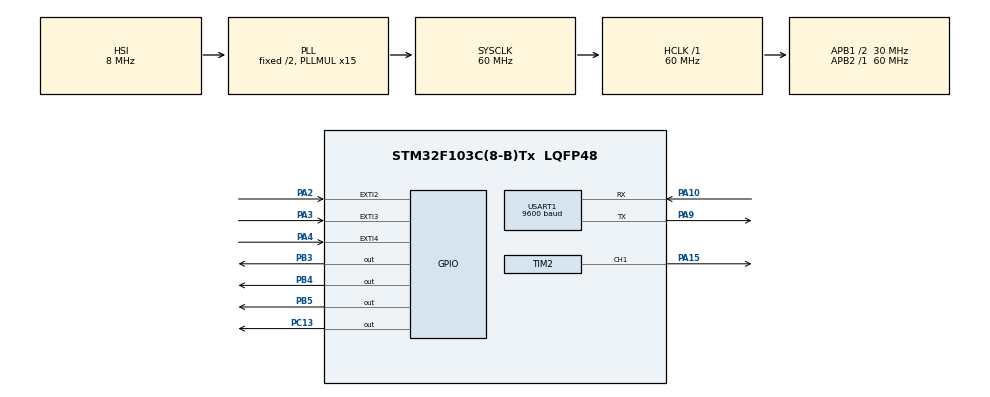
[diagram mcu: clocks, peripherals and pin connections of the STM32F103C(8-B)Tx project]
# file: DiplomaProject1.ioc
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Dma.Request0=TIM2_CH1
Dma.TIM2_CH1.0.Direction=DMA_MEMORY_TO_PERIPH
Dma.TIM2_CH1.0.Instance=DMA1_Channel5
Dma.TIM2_CH1.0.MemDataAlignment=DMA_MDATAALIGN_HALFWORD
Dma.TIM2_CH1.0.MemInc=DMA_MINC_ENABLE
Dma.TIM2_CH1.0.Mode=DMA_NORMAL
Dma.TIM2_CH1.0.PeriphDataAlignment=DMA_PDATAALIGN_HALFWORD
Dma.TIM2_CH1.0.PeriphInc=DMA_PINC_DISABLE
Dma.TIM2_CH1.0.Priority=DMA_PRIORITY_LOW
Mcu.Family=STM32F1
Mcu.Name=STM32F103C(8-B)Tx
Mcu.Package=LQFP48
NVIC.DMA1_Channel5_IRQn=true\:0\:0\:false\:false\:true\:false\:true\:true
NVIC.PriorityGroup=NVIC_PRIORITYGROUP_4
NVIC.TIM2_IRQn=true\:0\:0\:false\:false\:true\:true\:true\:true
NVIC.TIM3_IRQn=true\:0\:0\:false\:false\:true\:true\:true\:true
NVIC.TIM4_IRQn=true\:0\:0\:false\:false\:true\:true\:true\:true
NVIC.USART1_IRQn=true\:0\:0\:false\:false\:true\:true\:true\:true
PA10.Mode=Asynchronous
PA10.Signal=USART1_RX
PA13.Mode=Serial_Wire
PA13.Signal=SYS_JTMS-SWDIO
PA14.Mode=Serial_Wire
PA14.Signal=SYS_JTCK-SWCLK
PA15.Signal=S_TIM2_CH1_ETR
PA2.Signal=GPXTI2
PA3.Signal=GPXTI3
PA4.Signal=GPXTI4
PA9.Mode=Asynchronous
PA9.Signal=USART1_TX
PB3.Signal=GPIO_Output
PB4.Signal=GPIO_Output
PB5.Signal=GPIO_Output
PC13-TAMPER-RTC.Signal=GPIO_Output
ProjectManager.HeapSize=0x200
ProjectManager.StackSize=0x400
ProjectManager.TargetToolchain=STM32CubeIDE
RCC.AHBFreq_Value=60000000
RCC.APB1CLKDivider=RCC_HCLK_DIV2
RCC.APB1Freq_Value=30000000
RCC.APB1TimFreq_Value=60000000
RCC.APB2Freq_Value=60000000
RCC.APB2TimFreq_Value=60000000
RCC.HCLKFreq_Value=60000000
RCC.PLLMUL=RCC_PLL_MUL15
RCC.SYSCLKFreq_VALUE=60000000
RCC.SYSCLKSource=RCC_SYSCLKSOURCE_PLLCLK
RCC.USBFreq_Value=60000000
SH.S_TIM2_CH1_ETR.0=TIM2_CH1,PWM Generation1 CH1
TIM2.Channel-PWM\ Generation1\ CH1=TIM_CHANNEL_1
TIM2.Period=75-1
TIM2.Prescaler=0
TIM3.Period=30000-1
TIM3.Prescaler=90-1
TIM4.Period=30000-1
TIM4.Prescaler=15-1
USART1.BaudRate=9600
USART1.VirtualMode=VM_ASYNC
VP_TIM2_VS_ClockSourceINT.Mode=Internal
VP_TIM3_VS_ClockSourceINT.Mode=Internal
VP_TIM4_VS_ClockSourceINT.Mode=Internal
board=custom

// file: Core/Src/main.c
/* USER CODE BEGIN Header */
/**
  ******************************************************************************
  * @file           : main.c
  * @brief          : Main program body
  ******************************************************************************
  * @attention
  *
  * Copyright (c) 2024 STMicroelectronics.
  * All rights reserved.
  *
  * This software is licensed under terms that can be found in the LICENSE file
  * in the root directory of this software component.
  * If no LICENSE file comes with this software, it is provided AS-IS.
  *
  ******************************************************************************
  */
/* USER CODE END Header */
#include "main.h"

/* USER CODE BEGIN PM */
const uint8_t VECTOR_DEFAULT_PATTERNS_SIZES[] = {8, 8, 12, 16, 14, 14};

const uint8_t VECTOR_DEFAULT_PATTERNS[][16][2] = {
    // { {5,1}, {4,0}, {3,1}, {2,0}, {1,1}, {0,0}, {0,1}, {1,0}, {2,1}, {3,0}, {4,1}, {5,0} },
    // { {1,5}, {0,4}, {1,3}, {0,2}, {1,1}, {0,0}, {1,0}, {0,1}, {1,2}, {0,3}, {1,4}, {0,5} },
    { {0,1}, {1,0}, {2,0}, {3,1}, {3,2}, {2,3}, {1,3}, {0,2} },
	{ {0,0}, {1,0}, {2,0}, {1,1}, {0,2}, {1,2}, {2,2}, {1,1} },
    { {0,0}, {0,1}, {0,2}, {0,3}, {1,3}, {2,3}, {3,3}, {3,2}, {3,1}, {3,0}, {2,0}, {1,0} },
    { {3,1}, {4,0}, {5,0}, {6,1}, {6,2}, {5,3}, {4,3}, {3,2}, {3,1}, {2,0}, {1,0}, {0,1}, {0,2}, {1,3}, {2,3}, {3,2} },
    { {0,0}, {1,0}, {2,0}, {3,0}, {4,0}, {5,0}, {6,0}, {7,0}, {6,0}, {5,0}, {4,0}, {3,0}, {2,0}, {1,0} },
    { {0,0}, {0,1}, {0,2}, {0,3}, {0,4}, {0,5}, {0,6}, {0,7}, {0,6}, {0,5}, {0,4}, {0,3}, {0,2}, {0,1} }
};

uint8_t PATTERNS_NOARROW[PATTERN_COUNT + 1] = {false, false, false, false, false, false};
uint8_t PATTERNS_MIRROR[PATTERN_COUNT + 1] = {false, false, false, false, false, false};
uint8_t PATTERNS_MIRROR_AXIS[PATTERN_COUNT + 1] = {0, 0, 0, 0, 0, 0};

uint32_t PATTERN_VECTOR_SIZE = 0;
uint8_t PATTERN_VECTOR_RESIZED[128][2];

uint32_t seg_display_num = 0, last_matrix_update_time = 0, last_display_update_time = 0;
uint8_t matrix_regime = 2, matrix_time_regime = 1, matrix_reset_button_pressed = false, matrix_enabled = true;

const uint32_t SECURITY_CODE_CONDENSED = 470;
uint8_t exercise_datapackage[EXERCISE_DATAPACKAGE_SIZE];
uint8_t rx_index, uart_transaction_cmplt;
/* USER CODE END PM */

TIM_HandleTypeDef htim2;
TIM_HandleTypeDef htim3;
TIM_HandleTypeDef htim4;
DMA_HandleTypeDef hdma_tim2_ch1;

UART_HandleTypeDef huart1;

/* USER CODE BEGIN PV */
void HAL_TIM_PeriodElapsedCallback(TIM_HandleTypeDef *htim)
{
	//HAL_GPIO_TogglePin(GPIOC, GPIO_PIN_13);
	if (htim->Instance == TIM3) {
		  if (matrix_enabled) {
			  last_matrix_update_time = HAL_GetTick();
			  playPattern(matrix_regime);
		  }
	}
	else if (htim->Instance == TIM4) {
		  showSegmentDisplay(GPIOB, GPIO_PIN_3, GPIOB, GPIO_PIN_5, GPIOB, GPIO_PIN_4);
	}
}

void HAL_UART_RxCpltCallback(UART_HandleTypeDef *huart)
{
	HAL_GPIO_TogglePin(GPIOC, GPIO_PIN_13);
    last_display_update_time = HAL_GetTick();
    last_matrix_update_time = HAL_GetTick();
    resetMatrixParams();

    seg_display_num = 0;
	updateSegmentBuffers();
	showSegmentDisplay(GPIOB, GPIO_PIN_3, GPIOB, GPIO_PIN_5, GPIOB, GPIO_PIN_4);

	setupNewPattern();

    cleanNewPattern();
	HAL_UART_Receive_IT(&huart1, exercise_datapackage, sizeof(exercise_datapackage));
}

void EXTI2_IRQHandler()
{
    if (__HAL_GPIO_EXTI_GET_IT(GPIO_PIN_2) != 0x00u)
    {
        __HAL_GPIO_EXTI_CLEAR_IT(GPIO_PIN_2);
        //GPIO_PinState state = HAL_GPIO_ReadPin(GPIOA, GPIO_PIN_2);

        resetMatrix();
    }
}
void EXTI3_IRQHandler()
{
    if (__HAL_GPIO_EXTI_GET_IT(GPIO_PIN_3) != 0x00u)
    {
        __HAL_GPIO_EXTI_CLEAR_IT(GPIO_PIN_3);
        //GPIO_PinState state = HAL_GPIO_ReadPin(GPIOA, GPIO_PIN_3);

        uint8_t old_time_regime = matrix_time_regime;
    	matrix_time_regime = (matrix_time_regime + 1) % TIME_REGIME_COUNT;
    	brightness_tick *= (matrix_time_regime + 1) / (old_time_regime + 1);
    	//htim3.Init.Prescaler = 30 * (matrix_time_regime + 1) - 1;
    }
}
void EXTI4_IRQHandler()
{
    if (__HAL_GPIO_EXTI_GET_IT(GPIO_PIN_4) != 0x00u)
    {
        __HAL_GPIO_EXTI_CLEAR_IT(GPIO_PIN_4);
        //GPIO_PinState state = HAL_GPIO_ReadPin(GPIOA, GPIO_PIN_4);

	    matrix_regime = (matrix_regime == PATTERN_COUNT) ? 0 : ((matrix_regime + 1) % PATTERN_COUNT);
	    setupDefaultPattern();

	    last_display_update_time = HAL_GetTick();
	    last_matrix_update_time = HAL_GetTick();
	    resetMatrixParams();

	    seg_display_num = 0;
		updateSegmentBuffers();
		showSegmentDisplay(GPIOB, GPIO_PIN_3, GPIOB, GPIO_PIN_5, GPIOB, GPIO_PIN_4);
    }
}
/* USER CODE END PV */

void SystemClock_Config(void);
static void MX_GPIO_Init(void);
static void MX_DMA_Init(void);
static void MX_TIM2_Init(void);
static void MX_TIM3_Init(void);
static void MX_USART1_UART_Init(void);
static void MX_TIM4_Init(void);

/* USER CODE BEGIN 0 */
void setupDefaultPattern()
{
  uint8_t VECTOR_CURR_EXERCISE[16][2];
  uint8_t size = (VECTOR_DEFAULT_PATTERNS_SIZES[matrix_regime]);
//  Serial.println(size);
  for (uint8_t i = 0; i < size; i++)
  {
    VECTOR_CURR_EXERCISE[i][0] = (VECTOR_DEFAULT_PATTERNS[matrix_regime][i][0]);
    VECTOR_CURR_EXERCISE[i][1] = (VECTOR_DEFAULT_PATTERNS[matrix_regime][i][1]);
  }
  convertPatternSize(VECTOR_CURR_EXERCISE, size);
}

void cleanNewPattern()
{
  for (int i = 0; i < EXERCISE_DATAPACKAGE_SIZE; i++)
  {
    exercise_datapackage[i] = 0;
  }
}

void setupNewPattern()
{
  for (int i = 0; i < EXERCISE_SECURITY_CODE_LENGTH; i++) {
    if (exercise_datapackage[i] != exercise_datapackage[EXERCISE_DATAPACKAGE_SIZE - i - 1]) {
      return;
    }
  }

  int exercise_length = exercise_datapackage[EXERCISE_SECURITY_CODE_LENGTH];
  uint8_t VECTOR_NEW_EXERCISE[EXERCISE_PATTERN_DATA_LENGTH][2];
  for (int i = 0; i < exercise_length; i++)
  {
    VECTOR_NEW_EXERCISE[i][0] = exercise_datapackage[i * 2 + EXERCISE_SECURITY_CODE_LENGTH + 1];
    VECTOR_NEW_EXERCISE[i][1] = exercise_datapackage[i * 2 + EXERCISE_SECURITY_CODE_LENGTH + 2];
  }
  PATTERNS_MIRROR[PATTERN_COUNT] = (exercise_datapackage[EXERCISE_DATAPACKAGE_SIZE - EXERCISE_SECURITY_CODE_LENGTH - 2] != 0);
  if (PATTERNS_MIRROR[PATTERN_COUNT]) { PATTERNS_MIRROR_AXIS[PATTERN_COUNT] = exercise_datapackage[EXERCISE_DATAPACKAGE_SIZE - EXERCISE_SECURITY_CODE_LENGTH - 2] % 2; }
  PATTERNS_NOARROW[PATTERN_COUNT] = (exercise_datapackage[EXERCISE_DATAPACKAGE_SIZE - EXERCISE_SECURITY_CODE_LENGTH - 1] != 1);

  convertPatternSize(VECTOR_NEW_EXERCISE, exercise_length);
  matrix_regime = PATTERN_COUNT;
  pattern_tick = 0;
}

/* USER CODE END 0 */

int main(void)
{

  /* MCU Configuration--------------------------------------------------------*/

  /* Reset of all peripherals, Initializes the Flash interface and the Systick. */
  HAL_Init();

  /* Configure the system clock */
  SystemClock_Config();

  /* Initialize all configured peripherals */
  MX_GPIO_Init();
  MX_DMA_Init();
  MX_TIM2_Init();
  MX_TIM3_Init();
  MX_USART1_UART_Init();
  MX_TIM4_Init();
  /* USER CODE BEGIN 2 */
  //HAL_TIM_Base_Start_IT(&htim3);
  //HAL_TIM_Base_Start_IT(&htim4);
  HAL_UART_Receive_IT(&huart1, exercise_datapackage, sizeof(exercise_datapackage));

  setupDefaultPattern();

  uint32_t display_delay_save = 0, matrix_delay_save = 0;
  updateSegmentBuffers();

  /*
  // while loop:
	  GPIO_PinState state = HAL_GPIO_ReadPin(GPIOA, GPIO_PIN_2);
	  uint8_t reset_button_pressed = (state == GPIO_PIN_RESET);
	  if (matrix_reset_button_pressed != reset_button_pressed)
	  {
		  if (reset_button_pressed)
		  {
			  display_delay_save = HAL_GetTick() - last_display_update_time;
			  matrix_delay_save = HAL_GetTick() - last_matrix_update_time;
		  }
		  else
		  {
			  last_display_update_time = HAL_GetTick() - display_delay_save;
			  last_matrix_update_time = HAL_GetTick() - matrix_delay_save;
		  }
		  resetMatrix();
	  }
	  matrix_reset_button_pressed = reset_button_pressed;

	  if ( (HAL_GetTick() - last_matrix_update_time) >= MATRIX_DELAY_TIME ) {
		  if (matrix_enabled) {
			  last_matrix_update_time = HAL_GetTick();
			  playPattern(matrix_regime);
		  }
	  }

	  showSegmentDisplay(GPIOB, GPIO_PIN_3, GPIOB, GPIO_PIN_5, GPIOB, GPIO_PIN_4);

	  if (matrix_enabled) {
		  if ( (HAL_GetTick() - last_display_update_time) >= 1000 )
		  {
			  last_display_update_time = HAL_GetTick();
			  seg_display_num++;
			  updateSegmentBuffers();
		  }
	  }
  */

  /* USER CODE END 2 */

  /* Infinite loop */
  while (1)
  {
	  GPIO_PinState state = HAL_GPIO_ReadPin(GPIOA, GPIO_PIN_2);
	  uint8_t reset_button_pressed = (state == GPIO_PIN_RESET);
	  if (matrix_reset_button_pressed != reset_button_pressed)
	  {
		  if (reset_button_pressed)
		  {
			  display_delay_save = HAL_GetTick() - last_display_update_time;
			  matrix_delay_save = HAL_GetTick() - last_matrix_update_time;
		  }
		  else
		  {
			  last_display_update_time = HAL_GetTick() - display_delay_save;
			  last_matrix_update_time = HAL_GetTick() - matrix_delay_save;
		  }
		  resetMatrix();
	  }
	  matrix_reset_button_pressed = reset_button_pressed;

	  if ( (HAL_GetTick() - last_matrix_update_time) >= MATRIX_DELAY_TIME ) {
		  if (matrix_enabled) {
			  last_matrix_update_time = HAL_GetTick();
			  playPattern(matrix_regime);
		  }
	  }

	  showSegmentDisplay(GPIOB, GPIO_PIN_3, GPIOB, GPIO_PIN_5, GPIOB, GPIO_PIN_4);

	  if (matrix_enabled) {
		  if ( (HAL_GetTick() - last_display_update_time) >= 1000 )
		  {
			  last_display_update_time = HAL_GetTick();
			  seg_display_num++;
			  updateSegmentBuffers();
		  }
	  }
  }
}

void SystemClock_Config(void)
{
  RCC_OscInitTypeDef RCC_OscInitStruct = {0};
  RCC_ClkInitTypeDef RCC_ClkInitStruct = {0};

  /** Initializes the RCC Oscillators according to the specified parameters
  * in the RCC_OscInitTypeDef structure.
  */
  RCC_OscInitStruct.OscillatorType = RCC_OSCILLATORTYPE_HSI;
  RCC_OscInitStruct.HSIState = RCC_HSI_ON;
  RCC_OscInitStruct.HSICalibrationValue = RCC_HSICALIBRATION_DEFAULT;
  RCC_OscInitStruct.PLL.PLLState = RCC_PLL_ON;
  RCC_OscInitStruct.PLL.PLLSource = RCC_PLLSOURCE_HSI_DIV2;
  RCC_OscInitStruct.PLL.PLLMUL = RCC_PLL_MUL15;
  if (HAL_RCC_OscConfig(&RCC_OscInitStruct) != HAL_OK)
  {
    Error_Handler();
  }

  /** Initializes the CPU, AHB and APB buses clocks
  */
  RCC_ClkInitStruct.ClockType = RCC_CLOCKTYPE_HCLK|RCC_CLOCKTYPE_SYSCLK
                              |RCC_CLOCKTYPE_PCLK1|RCC_CLOCKTYPE_PCLK2;
  RCC_ClkInitStruct.SYSCLKSource = RCC_SYSCLKSOURCE_PLLCLK;
  RCC_ClkInitStruct.AHBCLKDivider = RCC_SYSCLK_DIV1;
  RCC_ClkInitStruct.APB1CLKDivider = RCC_HCLK_DIV2;
  RCC_ClkInitStruct.APB2CLKDivider = RCC_HCLK_DIV1;

  if (HAL_RCC_ClockConfig(&RCC_ClkInitStruct, FLASH_LATENCY_2) != HAL_OK)
  {
    Error_Handler();
  }
}

static void MX_TIM2_Init(void)
{

  TIM_ClockConfigTypeDef sClockSourceConfig = {0};
  TIM_MasterConfigTypeDef sMasterConfig = {0};
  TIM_OC_InitTypeDef sConfigOC = {0};

  htim2.Instance = TIM2;
  htim2.Init.Prescaler = 0;
  htim2.Init.CounterMode = TIM_COUNTERMODE_UP;
  htim2.Init.Period = 75-1;
  htim2.Init.ClockDivision = TIM_CLOCKDIVISION_DIV1;
  htim2.Init.AutoReloadPreload = TIM_AUTORELOAD_PRELOAD_DISABLE;
  if (HAL_TIM_Base_Init(&htim2) != HAL_OK)
  {
    Error_Handler();
  }
  sClockSourceConfig.ClockSource = TIM_CLOCKSOURCE_INTERNAL;
  if (HAL_TIM_ConfigClockSource(&htim2, &sClockSourceConfig) != HAL_OK)
  {
    Error_Handler();
  }
  if (HAL_TIM_PWM_Init(&htim2) != HAL_OK)
  {
    Error_Handler();
  }
  sMasterConfig.MasterOutputTrigger = TIM_TRGO_RESET;
  sMasterConfig.MasterSlaveMode = TIM_MASTERSLAVEMODE_DISABLE;
  if (HAL_TIMEx_MasterConfigSynchronization(&htim2, &sMasterConfig) != HAL_OK)
  {
    Error_Handler();
  }
  sConfigOC.OCMode = TIM_OCMODE_PWM1;
  sConfigOC.Pulse = 0;
  sConfigOC.OCPolarity = TIM_OCPOLARITY_HIGH;
  sConfigOC.OCFastMode = TIM_OCFAST_DISABLE;
  if (HAL_TIM_PWM_ConfigChannel(&htim2, &sConfigOC, TIM_CHANNEL_1) != HAL_OK)
  {
    Error_Handler();
  }
  HAL_TIM_MspPostInit(&htim2);

}

static void MX_TIM3_Init(void)
{

  TIM_ClockConfigTypeDef sClockSourceConfig = {0};
  TIM_MasterConfigTypeDef sMasterConfig = {0};

  htim3.Instance = TIM3;
  htim3.Init.Prescaler = 32-1;
  htim3.Init.CounterMode = TIM_COUNTERMODE_UP;
  htim3.Init.Period = 30000-1;
  htim3.Init.ClockDivision = TIM_CLOCKDIVISION_DIV1;
  htim3.Init.AutoReloadPreload = TIM_AUTORELOAD_PRELOAD_DISABLE;
  if (HAL_TIM_Base_Init(&htim3) != HAL_OK)
  {
    Error_Handler();
  }
  sClockSourceConfig.ClockSource = TIM_CLOCKSOURCE_INTERNAL;
  if (HAL_TIM_ConfigClockSource(&htim3, &sClockSourceConfig) != HAL_OK)
  {
    Error_Handler();
  }
  sMasterConfig.MasterOutputTrigger = TIM_TRGO_RESET;
  sMasterConfig.MasterSlaveMode = TIM_MASTERSLAVEMODE_DISABLE;
  if (HAL_TIMEx_MasterConfigSynchronization(&htim3, &sMasterConfig) != HAL_OK)
  {
    Error_Handler();
  }

}

static void MX_TIM4_Init(void)
{

  TIM_ClockConfigTypeDef sClockSourceConfig = {0};
  TIM_MasterConfigTypeDef sMasterConfig = {0};

  htim4.Instance = TIM4;
  htim4.Init.Prescaler = 1-1;
  htim4.Init.CounterMode = TIM_COUNTERMODE_UP;
  htim4.Init.Period = 15000-1;
  htim4.Init.ClockDivision = TIM_CLOCKDIVISION_DIV1;
  htim4.Init.AutoReloadPreload = TIM_AUTORELOAD_PRELOAD_DISABLE;
  if (HAL_TIM_Base_Init(&htim4) != HAL_OK)
  {
    Error_Handler();
  }
  sClockSourceConfig.ClockSource = TIM_CLOCKSOURCE_INTERNAL;
  if (HAL_TIM_ConfigClockSource(&htim4, &sClockSourceConfig) != HAL_OK)
  {
    Error_Handler();
  }
  sMasterConfig.MasterOutputTrigger = TIM_TRGO_RESET;
  sMasterConfig.MasterSlaveMode = TIM_MASTERSLAVEMODE_DISABLE;
  if (HAL_TIMEx_MasterConfigSynchronization(&htim4, &sMasterConfig) != HAL_OK)
  {
    Error_Handler();
  }

}

static void MX_USART1_UART_Init(void)
{

  huart1.Instance = USART1;
  huart1.Init.BaudRate = 9600;
  huart1.Init.WordLength = UART_WORDLENGTH_8B;
  huart1.Init.StopBits = UART_STOPBITS_1;
  huart1.Init.Parity = UART_PARITY_NONE;
  huart1.Init.Mode = UART_MODE_TX_RX;
  huart1.Init.HwFlowCtl = UART_HWCONTROL_NONE;
  huart1.Init.OverSampling = UART_OVERSAMPLING_16;
  if (HAL_UART_Init(&huart1) != HAL_OK)
  {
    Error_Handler();
  }
  /* USER CODE BEGIN USART1_Init 2 */
  /*Configure GPIO pins : PA10 */
  GPIO_InitTypeDef GPIO_InitStruct = {0};
  GPIO_InitStruct.Pin = GPIO_PIN_10;
  GPIO_InitStruct.Mode = GPIO_MODE_INPUT;  // Keep as input mode
  GPIO_InitStruct.Pull = GPIO_PULLUP;      // Enable internal pull-up resistor
  GPIO_InitStruct.Speed = GPIO_SPEED_FREQ_LOW;
  HAL_GPIO_Init(GPIOA, &GPIO_InitStruct);
  /* USER CODE END USART1_Init 2 */

}

static void MX_DMA_Init(void)
{

  /* DMA controller clock enable */
  __HAL_RCC_DMA1_CLK_ENABLE();

  /* DMA interrupt init */
  /* DMA1_Channel5_IRQn interrupt configuration */
  HAL_NVIC_SetPriority(DMA1_Channel5_IRQn, 0, 0);
  HAL_NVIC_EnableIRQ(DMA1_Channel5_IRQn);

}

static void MX_GPIO_Init(void)
{
  GPIO_InitTypeDef GPIO_InitStruct = {0};

  /* GPIO Ports Clock Enable */
  __HAL_RCC_GPIOC_CLK_ENABLE();
  __HAL_RCC_GPIOA_CLK_ENABLE();
  __HAL_RCC_GPIOB_CLK_ENABLE();

  /*Configure GPIO pin Output Level */
  HAL_GPIO_WritePin(GPIOC, GPIO_PIN_13, GPIO_PIN_RESET);

  /*Configure GPIO pin Output Level */
  HAL_GPIO_WritePin(GPIOB, GPIO_PIN_3|GPIO_PIN_4|GPIO_PIN_5, GPIO_PIN_RESET);

  /*Configure GPIO pin : PC13 */
  GPIO_InitStruct.Pin = GPIO_PIN_13;
  GPIO_InitStruct.Mode = GPIO_MODE_OUTPUT_PP;
  GPIO_InitStruct.Pull = GPIO_NOPULL;
  GPIO_InitStruct.Speed = GPIO_SPEED_FREQ_LOW;
  HAL_GPIO_Init(GPIOC, &GPIO_InitStruct);

  /*Configure GPIO pins : PA2 PA3 PA4 */
  GPIO_InitStruct.Pin = GPIO_PIN_2|GPIO_PIN_3|GPIO_PIN_4;
  GPIO_InitStruct.Mode = GPIO_MODE_IT_RISING;
  GPIO_InitStruct.Pull = GPIO_PULLUP;
  HAL_GPIO_Init(GPIOA, &GPIO_InitStruct);

  /*Configure GPIO pins : PB3 PB4 PB5 */
  GPIO_InitStruct.Pin = GPIO_PIN_3|GPIO_PIN_4|GPIO_PIN_5;
  GPIO_InitStruct.Mode = GPIO_MODE_OUTPUT_PP;
  GPIO_InitStruct.Pull = GPIO_NOPULL;
  GPIO_InitStruct.Speed = GPIO_SPEED_FREQ_LOW;
  HAL_GPIO_Init(GPIOB, &GPIO_InitStruct);

/* USER CODE BEGIN MX_GPIO_Init_2 */
  /*Configure GPIO pins : PA10 */
//  GPIO_InitStruct.Pin = GPIO_PIN_10;
//  GPIO_InitStruct.Mode = GPIO_MODE_INPUT;  // Keep as input mode
//  GPIO_InitStruct.Pull = GPIO_PULLUP;      // Enable internal pull-up resistor
//  GPIO_InitStruct.Speed = GPIO_SPEED_FREQ_LOW;
//  HAL_GPIO_Init(GPIOA, &GPIO_InitStruct);

  //  NVIC_EnableIRQ(EXTI2_IRQn);
  //  NVIC_SetPriority(EXTI2_IRQn, 2);

    NVIC_EnableIRQ(EXTI3_IRQn);
    NVIC_SetPriority(EXTI3_IRQn, 2);

    NVIC_EnableIRQ(EXTI4_IRQn);
    NVIC_SetPriority(EXTI4_IRQn, 2);
/* USER CODE END MX_GPIO_Init_2 */
}

void Error_Handler(void)
{
  __disable_irq();
  while (1)
  {
  }
}
